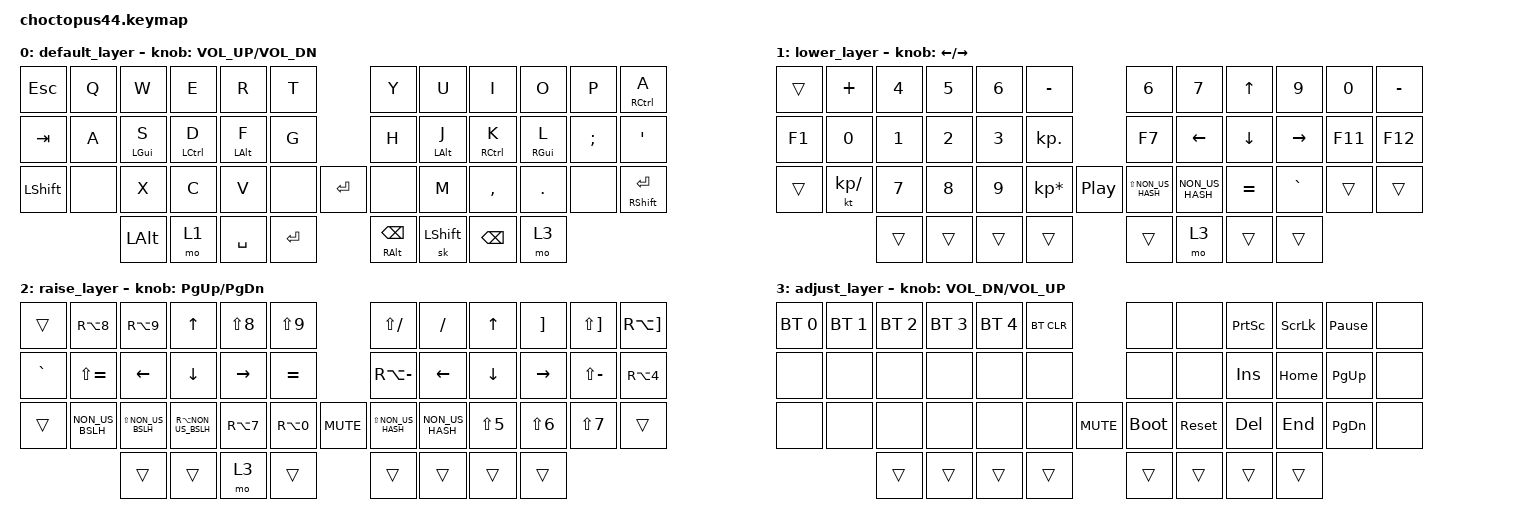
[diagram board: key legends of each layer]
/*
 * Copyright (c) 2021 The ZMK Contributors
 *
 * SPDX-License-Identifier: MIT
 */

#include <behaviors.dtsi>
#include <dt-bindings/zmk/bt.h>
#include <dt-bindings/zmk/keys.h>

&mt { flavor = "tap-preferred"; };

&sk { quick-release; };

/ {
    combos {
        compatible = "zmk,combos";

        CB_B {
            bindings = <&kp B>;
            key-positions = <28 27>;
            layers = <0>;
        };

        CB_Z {
            bindings = <&kp Z>;
            key-positions = <26 26 27>;
        };

        CB_. {
            bindings = <&kp N>;
            key-positions = <32 33>;
        };

        CB_K {
            bindings = <&kp SLASH>;
            key-positions = <34 33>;
        };
    };

    behaviors {
        HRM: HRM {
            compatible = "zmk,behavior-hold-tap";
            label = "HRM";
            bindings = <&kp>, <&kp>;

            #binding-cells = <2>;
            tapping-term-ms = <200>;
            flavor = "balanced";
            hold-trigger-on-release;
            hold-trigger-key-positions = <0 1 2 3 4 5 24 25 26 27 28 29 12 17 6 7 8 9 10 11 18 23 31 32 33 34 35 36 30 37 38 39 40 41 42 43 44>;
        };

        THUMB_MOD_TAP: THUMB_MOD_TAP {
            compatible = "zmk,behavior-hold-tap";
            label = "THUMB_MOD_TAP";
            bindings = <&kp>, <&kp>;

            #binding-cells = <2>;
            tapping-term-ms = <200>;
            flavor = "balanced";
            hold-trigger-on-release;
            hold-trigger-key-positions = <0 1 2 3 4 5 6 7 8 9 10 11 12 13 14 15 16 17 18 19 20 21 22 23 24 25 26 27 28 29 31 32 33 34 35 36>;
        };
    };

    keymap {
        compatible = "zmk,keymap";

        default_layer {
            bindings = <
&kp ESC    &kp Q  &kp W            &kp E        &kp R           &kp T               &kp Y                    &kp U           &kp I          &kp O            &kp P     &mt RCTRL A
&kp TAB    &kp A  &HRM LEFT_GUI S  &mt LCTRL D  &mt LEFT_ALT F  &kp G               &kp H                    &mt LEFT_ALT J  &mt RCTRL K    &mt RIGHT_GUI L  &kp SEMI  &kp SQT
&kp LSHFT  &none  &kp X            &kp C        &kp V           &none      &kp RET  &none                    &kp M           &kp COMMA      &kp DOT          &none     &mt RSHFT RET
                  &kp LEFT_ALT     &mo 1        &kp SPACE       &kp ENTER           &mt RIGHT_ALT BACKSPACE  &sk LEFT_SHIFT  &kp BACKSPACE  &mo 3
            >;

            sensor-bindings = <&inc_dec_kp C_VOLUME_UP C_VOL_DN>;
        };

        lower_layer {
            bindings = <
&trans  &kp PLUS       &kp NUMBER_4  &kp NUMBER_5  &kp NUMBER_6  &kp MINUS                          &kp N6               &kp N7           &kp UP_ARROW    &kp N9     &kp N0   &kp MINUS
&kp F1  &kp NUMBER_0   &kp NUMBER_1  &kp NUMBER_2  &kp NUMBER_3  &kp KP_DOT                         &kp F7               &kp LEFT_ARROW   &kp DOWN_ARROW  &kp RIGHT  &kp F11  &kp F12
&trans  &kt KP_DIVIDE  &kp NUMBER_7  &kp NUMBER_8  &kp NUMBER_9  &kp KP_MULTIPLY  &kp C_PLAY_PAUSE  &kp LS(NON_US_HASH)  &kp NON_US_HASH  &kp EQUAL       &kp GRAVE  &trans   &trans
                       &trans        &trans        &trans        &trans                             &trans               &mo 3            &trans          &trans
            >;

            sensor-bindings = <&inc_dec_kp LEFT RIGHT>;
        };

        raise_layer {
            bindings = <
&trans     &kp RA(N8)       &kp RA(N9)           &kp UP               &kp LS(N8)  &kp LS(N9)              &kp LS(FSLH)         &kp FSLH         &kp UP      &kp RBKT    &kp LS(RBKT)   &kp RA(RBKT)
&kp GRAVE  &kp LS(EQUAL)    &kp LEFT             &kp DOWN             &kp RIGHT   &kp EQUAL               &kp RA(MINUS)        &kp LEFT         &kp DOWN    &kp RIGHT   &kp LS(MINUS)  &kp RA(N4)
&trans     &kp NON_US_BSLH  &kp LS(NON_US_BSLH)  &kp RA(NON_US_BSLH)  &kp RA(N7)  &kp RA(N0)  &kp C_MUTE  &kp LS(NON_US_HASH)  &kp NON_US_HASH  &kp LS(N5)  &kp LS(N6)  &kp LS(N7)     &trans
                            &trans               &trans               &mo 3       &trans                  &trans               &trans           &trans      &trans
            >;

            sensor-bindings = <&inc_dec_kp PG_UP PG_DN>;
        };

        adjust_layer {
            bindings = <
&bt BT_SEL 0  &bt BT_SEL 1  &bt BT_SEL 2  &bt BT_SEL 3  &bt BT_SEL 4  &bt BT_CLR              &none        &none       &kp PSCRN   &kp SLCK  &kp PAUSE_BREAK  &none
&none         &none         &none         &none         &none         &none                   &none        &none       &kp INSERT  &kp HOME  &kp PG_UP        &none
&none         &none         &none         &none         &none         &none       &kp C_MUTE  &bootloader  &sys_reset  &kp DEL     &kp END   &kp PG_DN        &none
                            &trans        &trans        &trans        &trans                  &trans       &trans      &trans      &trans
            >;

            sensor-bindings = <&inc_dec_kp C_VOL_DN C_VOL_UP>;
        };
    };
};
